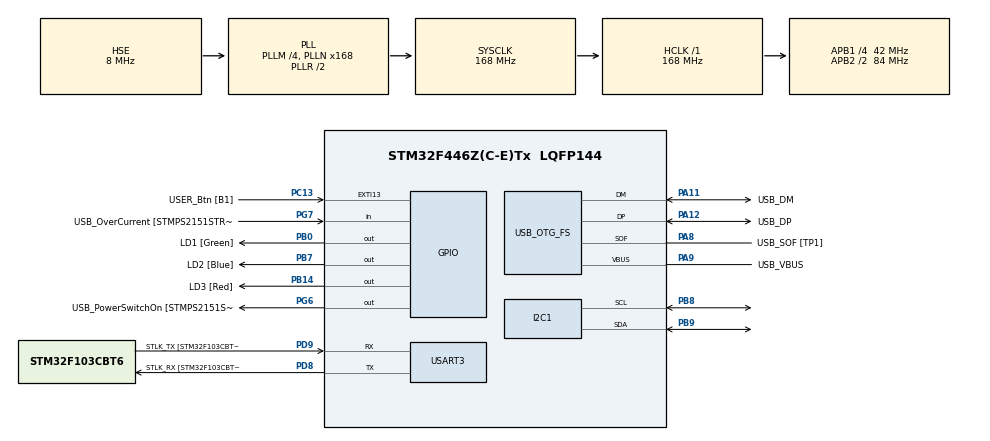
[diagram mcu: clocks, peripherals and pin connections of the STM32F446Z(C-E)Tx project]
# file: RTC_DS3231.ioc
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I2C1.I2C_Mode=I2C_Fast
I2C1.OwnAddress=0x53
Mcu.Family=STM32F4
Mcu.Name=STM32F446Z(C-E)Tx
Mcu.Package=LQFP144
NVIC.PriorityGroup=NVIC_PRIORITYGROUP_4
PA10.GPIO_Label=USB_ID
PA10.Signal=USB_OTG_FS_ID
PA11.GPIO_Label=USB_DM
PA11.Mode=Device_Only
PA11.Signal=USB_OTG_FS_DM
PA12.GPIO_Label=USB_DP
PA12.Mode=Device_Only
PA12.Signal=USB_OTG_FS_DP
PA13.GPIO_Label=TMS
PA13.Mode=Serial_Wire
PA13.Signal=SYS_JTMS-SWDIO
PA14.GPIO_Label=TCK
PA14.Mode=Serial_Wire
PA14.Signal=SYS_JTCK-SWCLK
PA8.GPIO_Label=USB_SOF [TP1]
PA8.Mode=Activate_SOF_FS
PA8.Signal=USB_OTG_FS_SOF
PA9.GPIO_Label=USB_VBUS
PA9.Mode=Activate_VBUS
PA9.Signal=USB_OTG_FS_VBUS
PB0.GPIO_Label=LD1 [Green]
PB0.Signal=GPIO_Output
PB14.GPIO_Label=LD3 [Red]
PB14.Signal=GPIO_Output
PB7.GPIO_Label=LD2 [Blue]
PB7.Signal=GPIO_Output
PB8.Mode=I2C
PB8.Signal=I2C1_SCL
PB9.Mode=I2C
PB9.Signal=I2C1_SDA
PC13.GPIO_Label=USER_Btn [B1]
PC13.Signal=GPXTI13
PC14-OSC32_IN.Mode=LSE-External-Oscillator
PC14-OSC32_IN.Signal=RCC_OSC32_IN
PC15-OSC32_OUT.Mode=LSE-External-Oscillator
PC15-OSC32_OUT.Signal=RCC_OSC32_OUT
PD8.GPIO_Label=STLK_RX [STM32F103CBT6_PA3]
PD8.Mode=Asynchronous
PD8.Signal=USART3_TX
PD9.GPIO_Label=STLK_TX [STM32F103CBT6_PA2]
PD9.Mode=Asynchronous
PD9.Signal=USART3_RX
PG6.GPIO_Label=USB_PowerSwitchOn [STMPS2151STR_EN]
PG6.Signal=GPIO_Output
PG7.GPIO_Label=USB_OverCurrent [STMPS2151STR_FAULT]
PG7.Signal=GPIO_Input
PH0-OSC_IN.GPIO_Label=MCO [STM32F103CBT6_PA8]
PH0-OSC_IN.Mode=HSE-External-Clock-Source
PH0-OSC_IN.Signal=RCC_OSC_IN
PH1-OSC_OUT.Mode=HSE-External-Clock-Source
PH1-OSC_OUT.Signal=RCC_OSC_OUT
ProjectManager.HeapSize=0x200
ProjectManager.StackSize=0x400
ProjectManager.TargetToolchain=STM32CubeIDE
RCC.48MHZClocksFreq_Value=24000000
RCC.AHBFreq_Value=168000000
RCC.APB1CLKDivider=RCC_HCLK_DIV4
RCC.APB1Freq_Value=42000000
RCC.APB1TimFreq_Value=84000000
RCC.APB2CLKDivider=RCC_HCLK_DIV2
RCC.APB2Freq_Value=84000000
RCC.APB2TimFreq_Value=168000000
RCC.CortexFreq_Value=168000000
RCC.HCLKFreq_Value=168000000
RCC.HSE_VALUE=8000000
RCC.HSI_VALUE=16000000
RCC.PLLM=4
RCC.PLLMUL=RCC_PLL_MUL9
RCC.PLLN=168
RCC.PLLQ=7
RCC.PRESCALERUSB=RCC_USBCLKSOURCE_PLL_DIV1_5
RCC.SYSCLKFreq_VALUE=168000000
RCC.SYSCLKSource=RCC_SYSCLKSOURCE_PLLRCLK
RCC.SYSCLKSourceVirtual=RCC_SYSCLKSOURCE_PLLCLK
RCC.USBFreq_Value=48000000
RCC.VCOOutputFreq_Value=336000000
USART3.VirtualMode=VM_ASYNC
USB_OTG_FS.VirtualMode=Device_Only
board=NUCLEO-F446ZE

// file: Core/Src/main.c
/* USER CODE BEGIN Header */
/**
 ******************************************************************************
 * @file           : main.c
 * @brief          : Main program body
 ******************************************************************************
 * @attention
 *
 * Copyright (c) 2023 STMicroelectronics.
 * All rights reserved.
 *
 * This software is licensed under terms that can be found in the LICENSE file
 * in the root directory of this software component.
 * If no LICENSE file comes with this software, it is provided AS-IS.
 *
 ******************************************************************************
 */
/* USER CODE END Header */
#include "main.h"

/* USER CODE BEGIN Includes */
#include <stdio.h>
/* USER CODE END Includes */

/* USER CODE BEGIN PD */
//ADXL345
#define DS3231 0xD0

/* USER CODE END PD */

I2C_HandleTypeDef hi2c1;

UART_HandleTypeDef huart3;

PCD_HandleTypeDef hpcd_USB_OTG_FS;

/* USER CODE BEGIN PV */
#ifdef __GNUC__
#define PUTCHAR_PROTOTYPE int __io_putchar(int ch)
#else
#define PUTCHAR_PROTOTYPE int fputc(int ch, FILE *f)
#endif

PUTCHAR_PROTOTYPE {
	HAL_UART_Transmit(&huart3, (uint8_t*) &ch, 1, HAL_MAX_DELAY);
	return ch;
}
uint16_t address = 0;
uint8_t buf_tx[2];
uint8_t buf_rx[7];
uint8_t temp[2];
uint8_t DEVID = 0;
float TEMP;
char buffer[50];
typedef struct {
	uint8_t seconds;
	uint8_t minutes;
	uint8_t hour;
	uint8_t dayofweek;
	uint8_t dayofmonth;
	uint8_t month;
	uint8_t year;
} TIME;

TIME time;
/* USER CODE END PV */

void SystemClock_Config(void);
static void MX_GPIO_Init(void);
static void MX_USART3_UART_Init(void);
static void MX_USB_OTG_FS_PCD_Init(void);
static void MX_I2C1_Init(void);

/* USER CODE BEGIN 0 */
HAL_StatusTypeDef ReadReg(I2C_HandleTypeDef i2c_hdl, uint16_t address,
		uint8_t reg, uint8_t *pdata, uint16_t len);
HAL_StatusTypeDef initDS3231(I2C_HandleTypeDef i2c_hdl, uint16_t address);

// Convert normal decimal numbers to binary coded decimal
uint8_t decToBcd(int val);
// Convert binary coded decimal to normal decimal numbers
int bcdToDec(uint8_t val);
void Set_Time(I2C_HandleTypeDef i2c_hdl, uint16_t address, uint8_t sec,
		uint8_t min, uint8_t hour, uint8_t dow, uint8_t dom, uint8_t month,
		uint16_t year) ;
void Get_Time(I2C_HandleTypeDef i2c_hdl, uint16_t address, uint8_t *get_time) ;

void force_temp_conv(I2C_HandleTypeDef i2c_hdl, uint16_t address);
float Get_Temp(I2C_HandleTypeDef i2c_hdl, uint16_t address, uint8_t *temp);
/* USER CODE END 0 */

int main(void) {

	/* MCU Configuration--------------------------------------------------------*/

	/* Reset of all peripherals, Initializes the Flash interface and the Systick. */
	HAL_Init();

	/* Configure the system clock */
	SystemClock_Config();

	/* Initialize all configured peripherals */
	MX_GPIO_Init();
	MX_USART3_UART_Init();
	MX_USB_OTG_FS_PCD_Init();
	MX_I2C1_Init();
	/* USER CODE BEGIN 2 */
	printf("DS3231 example\n");

	address = ((uint16_t) DS3231);

	Set_Time(hi2c1, address, 00, 53, 15, 4, 19, 1, 23);
	/* USER CODE END 2 */

	/* Infinite loop */
	while (1) {

		/* USER CODE BEGIN 3 */

		Get_Time(hi2c1, address, buf_rx);

		force_temp_conv(hi2c1, address);

		TEMP = Get_Temp(hi2c1, address, temp);

		sprintf(buffer, "Temp: %f %02d-%02d-20%02d %02d:%02d:%02d", TEMP,
				time.dayofmonth, time.month, time.year, time.hour, time.minutes,
				time.seconds);

		HAL_Delay(500);

		printf("%s \r\n", buffer);
	}
	/* USER CODE END 3 */
}

void SystemClock_Config(void) {
	RCC_OscInitTypeDef RCC_OscInitStruct = { 0 };
	RCC_ClkInitTypeDef RCC_ClkInitStruct = { 0 };

	/** Configure the main internal regulator output voltage
	 */
	__HAL_RCC_PWR_CLK_ENABLE();
	__HAL_PWR_VOLTAGESCALING_CONFIG(PWR_REGULATOR_VOLTAGE_SCALE1);

	/** Initializes the RCC Oscillators according to the specified parameters
	 * in the RCC_OscInitTypeDef structure.
	 */
	RCC_OscInitStruct.OscillatorType = RCC_OSCILLATORTYPE_HSE;
	RCC_OscInitStruct.HSEState = RCC_HSE_BYPASS;
	RCC_OscInitStruct.PLL.PLLState = RCC_PLL_ON;
	RCC_OscInitStruct.PLL.PLLSource = RCC_PLLSOURCE_HSE;
	RCC_OscInitStruct.PLL.PLLM = 4;
	RCC_OscInitStruct.PLL.PLLN = 168;
	RCC_OscInitStruct.PLL.PLLP = RCC_PLLP_DIV2;
	RCC_OscInitStruct.PLL.PLLQ = 7;
	RCC_OscInitStruct.PLL.PLLR = 2;
	if (HAL_RCC_OscConfig(&RCC_OscInitStruct) != HAL_OK) {
		Error_Handler();
	}

	/** Initializes the CPU, AHB and APB buses clocks
	 */
	RCC_ClkInitStruct.ClockType = RCC_CLOCKTYPE_HCLK | RCC_CLOCKTYPE_SYSCLK
			| RCC_CLOCKTYPE_PCLK1 | RCC_CLOCKTYPE_PCLK2;
	RCC_ClkInitStruct.SYSCLKSource = RCC_SYSCLKSOURCE_PLLRCLK;
	RCC_ClkInitStruct.AHBCLKDivider = RCC_SYSCLK_DIV1;
	RCC_ClkInitStruct.APB1CLKDivider = RCC_HCLK_DIV4;
	RCC_ClkInitStruct.APB2CLKDivider = RCC_HCLK_DIV2;

	if (HAL_RCC_ClockConfig(&RCC_ClkInitStruct, FLASH_LATENCY_5) != HAL_OK) {
		Error_Handler();
	}
}

static void MX_I2C1_Init(void) {

	hi2c1.Instance = I2C1;
	hi2c1.Init.ClockSpeed = 400000;
	hi2c1.Init.DutyCycle = I2C_DUTYCYCLE_2;
	hi2c1.Init.OwnAddress1 = 166;
	hi2c1.Init.AddressingMode = I2C_ADDRESSINGMODE_7BIT;
	hi2c1.Init.DualAddressMode = I2C_DUALADDRESS_DISABLE;
	hi2c1.Init.OwnAddress2 = 0;
	hi2c1.Init.GeneralCallMode = I2C_GENERALCALL_DISABLE;
	hi2c1.Init.NoStretchMode = I2C_NOSTRETCH_DISABLE;
	if (HAL_I2C_Init(&hi2c1) != HAL_OK) {
		Error_Handler();
	}

}

static void MX_USART3_UART_Init(void) {

	huart3.Instance = USART3;
	huart3.Init.BaudRate = 115200;
	huart3.Init.WordLength = UART_WORDLENGTH_8B;
	huart3.Init.StopBits = UART_STOPBITS_1;
	huart3.Init.Parity = UART_PARITY_NONE;
	huart3.Init.Mode = UART_MODE_TX_RX;
	huart3.Init.HwFlowCtl = UART_HWCONTROL_NONE;
	huart3.Init.OverSampling = UART_OVERSAMPLING_16;
	if (HAL_UART_Init(&huart3) != HAL_OK) {
		Error_Handler();
	}

}

static void MX_USB_OTG_FS_PCD_Init(void) {

	hpcd_USB_OTG_FS.Instance = USB_OTG_FS;
	hpcd_USB_OTG_FS.Init.dev_endpoints = 6;
	hpcd_USB_OTG_FS.Init.speed = PCD_SPEED_FULL;
	hpcd_USB_OTG_FS.Init.dma_enable = DISABLE;
	hpcd_USB_OTG_FS.Init.phy_itface = PCD_PHY_EMBEDDED;
	hpcd_USB_OTG_FS.Init.Sof_enable = ENABLE;
	hpcd_USB_OTG_FS.Init.low_power_enable = DISABLE;
	hpcd_USB_OTG_FS.Init.lpm_enable = DISABLE;
	hpcd_USB_OTG_FS.Init.vbus_sensing_enable = ENABLE;
	hpcd_USB_OTG_FS.Init.use_dedicated_ep1 = DISABLE;
	if (HAL_PCD_Init(&hpcd_USB_OTG_FS) != HAL_OK) {
		Error_Handler();
	}

}

static void MX_GPIO_Init(void) {
	GPIO_InitTypeDef GPIO_InitStruct = { 0 };

	/* GPIO Ports Clock Enable */
	__HAL_RCC_GPIOC_CLK_ENABLE();
	__HAL_RCC_GPIOH_CLK_ENABLE();
	__HAL_RCC_GPIOB_CLK_ENABLE();
	__HAL_RCC_GPIOD_CLK_ENABLE();
	__HAL_RCC_GPIOG_CLK_ENABLE();
	__HAL_RCC_GPIOA_CLK_ENABLE();

	/*Configure GPIO pin Output Level */
	HAL_GPIO_WritePin(GPIOB, LD1_Pin | LD3_Pin | LD2_Pin, GPIO_PIN_RESET);

	/*Configure GPIO pin Output Level */
	HAL_GPIO_WritePin(USB_PowerSwitchOn_GPIO_Port, USB_PowerSwitchOn_Pin,
			GPIO_PIN_RESET);

	/*Configure GPIO pin : USER_Btn_Pin */
	GPIO_InitStruct.Pin = USER_Btn_Pin;
	GPIO_InitStruct.Mode = GPIO_MODE_IT_RISING;
	GPIO_InitStruct.Pull = GPIO_NOPULL;
	HAL_GPIO_Init(USER_Btn_GPIO_Port, &GPIO_InitStruct);

	/*Configure GPIO pins : LD1_Pin LD3_Pin LD2_Pin */
	GPIO_InitStruct.Pin = LD1_Pin | LD3_Pin | LD2_Pin;
	GPIO_InitStruct.Mode = GPIO_MODE_OUTPUT_PP;
	GPIO_InitStruct.Pull = GPIO_NOPULL;
	GPIO_InitStruct.Speed = GPIO_SPEED_FREQ_LOW;
	HAL_GPIO_Init(GPIOB, &GPIO_InitStruct);

	/*Configure GPIO pin : USB_PowerSwitchOn_Pin */
	GPIO_InitStruct.Pin = USB_PowerSwitchOn_Pin;
	GPIO_InitStruct.Mode = GPIO_MODE_OUTPUT_PP;
	GPIO_InitStruct.Pull = GPIO_NOPULL;
	GPIO_InitStruct.Speed = GPIO_SPEED_FREQ_LOW;
	HAL_GPIO_Init(USB_PowerSwitchOn_GPIO_Port, &GPIO_InitStruct);

	/*Configure GPIO pin : USB_OverCurrent_Pin */
	GPIO_InitStruct.Pin = USB_OverCurrent_Pin;
	GPIO_InitStruct.Mode = GPIO_MODE_INPUT;
	GPIO_InitStruct.Pull = GPIO_NOPULL;
	HAL_GPIO_Init(USB_OverCurrent_GPIO_Port, &GPIO_InitStruct);

}

/* USER CODE BEGIN 4 */

HAL_StatusTypeDef ReadReg(I2C_HandleTypeDef i2c_hdl, uint16_t address,
		uint8_t reg, uint8_t *pdata, uint16_t len) {
	HAL_StatusTypeDef ret = HAL_I2C_Master_Transmit(&i2c_hdl, address, &reg, 1,
			1000);
	if (ret != HAL_OK) {
		printf("Ups no measurement mode enabled sent\n");
	}
	HAL_I2C_Master_Receive(&i2c_hdl, address, pdata, len, 1000);
	return ret;
}

void Set_Time(I2C_HandleTypeDef i2c_hdl, uint16_t address, uint8_t sec,
		uint8_t min, uint8_t hour, uint8_t dow, uint8_t dom, uint8_t month,
		uint16_t year) {
	uint8_t set_time[7];
	set_time[0] = decToBcd(sec);
	set_time[1] = decToBcd(min);
	set_time[2] = decToBcd(hour);
	set_time[3] = decToBcd(dow);
	set_time[4] = decToBcd(dom);
	set_time[5] = decToBcd(month);
	set_time[6] = decToBcd(year);

	HAL_I2C_Mem_Write(&i2c_hdl, address, 0x00, 1, set_time, 7, 1000);
}
void Get_Time(I2C_HandleTypeDef i2c_hdl, uint16_t address, uint8_t *get_time) {

	HAL_I2C_Mem_Read(&i2c_hdl, address, 0x00, 1, get_time, 7, 1000);
	time.seconds = bcdToDec(get_time[0]);
	time.minutes = bcdToDec(get_time[1]);
	time.hour = bcdToDec(get_time[2]);
	time.dayofweek = bcdToDec(get_time[3]);
	time.dayofmonth = bcdToDec(get_time[4]);
	time.month = bcdToDec(get_time[5]);
	time.year = bcdToDec(get_time[6]);
}

float Get_Temp(I2C_HandleTypeDef i2c_hdl, uint16_t address, uint8_t *temp) {

	HAL_I2C_Mem_Read(&i2c_hdl, address, 0x11, 1, temp, 2, 1000);
	return ((temp[0]) + (temp[1] >> 6) / 4.0);
}
void force_temp_conv(I2C_HandleTypeDef i2c_hdl, uint16_t address) {
	uint8_t status = 0;
	uint8_t control = 0;
	HAL_I2C_Mem_Read(&i2c_hdl, address, 0x0F, 1, &status, 1, 100); // read status register
	if (!(status & 0x04))  // if the BSY bit is not set
	{
		HAL_I2C_Mem_Read(&i2c_hdl, address, 0x0E, 1, &control, 1, 100); // read control register
		HAL_I2C_Mem_Write(&i2c_hdl, address, 0x0E, 1,
				(uint8_t*) (control | (0x20)), 1, 100); // write modified control register with CONV bit as'1'
	}
}

uint8_t decToBcd(int val) {
	return (uint8_t) ((val / 10 * 16) + (val % 10));
}
// Convert binary coded decimal to normal decimal numbers
int bcdToDec(uint8_t val) {
	return (int) ((val / 16 * 10) + (val % 16));
}

/* USER CODE END 4 */

void Error_Handler(void) {
	__disable_irq();
	while (1) {
	}
}
